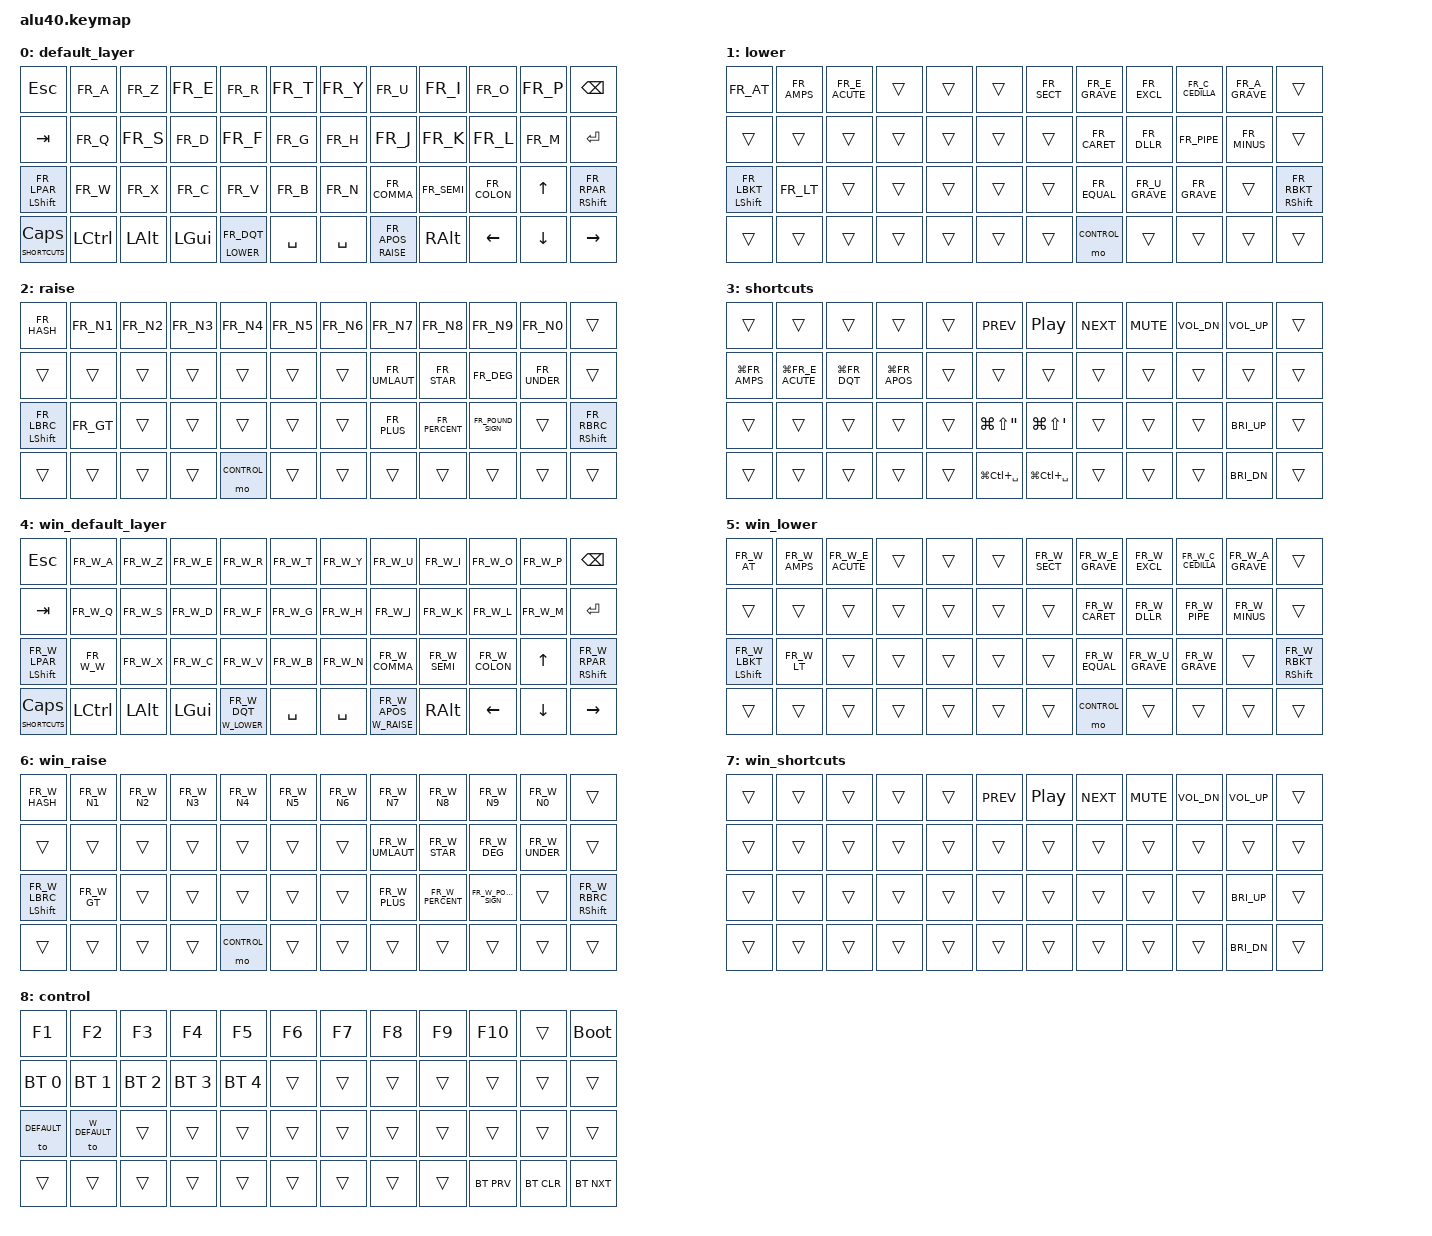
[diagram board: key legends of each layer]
/*
 * Copyright (c) 2022 The ZMK Contributors
 *
 * SPDX-License-Identifier: MIT
 */

#include <behaviors.dtsi>
#include <dt-bindings/zmk/bt.h>
#include <dt-bindings/zmk/rgb.h>
#include <dt-bindings/zmk/keys.h>
#include <dt-bindings/zmk/bt.h>

#include "keys_osx_fr.h"
#include "keys_win_fr.h"

#define DEFAULT 0
#define LOWER 1
#define RAISE 2
#define SHORTCUTS 3
#define W_DEFAULT 4
#define W_LOWER 5
#define W_RAISE 6
#define W_SHORTCUTS 7
#define CONTROL 8

#define CAPF LG(LS(DQT))
#define CAPR LG(LS(APOS))
#define CHAR LG(LC(SPACE))

#define SPACE1 LG(FR_AMPS)
#define SPACE2 LG(FR_E_ACUTE)
#define SPACE3 LG(FR_DQT)
#define SPACE4 LG(FR_APOS)


/ {
    keymap {
        compatible = "zmk,keymap";

        default_layer {
            bindings = <
                &kp ESC             &kp FR_A            &kp FR_Z            &kp FR_E            &kp FR_R            &kp FR_T            &kp FR_Y            &kp FR_U            &kp FR_I             &kp FR_O            &kp FR_P            &kp BSPC
                &kp TAB             &kp FR_Q            &kp FR_S            &kp FR_D            &kp FR_F            &kp FR_G            &kp FR_H            &kp FR_J            &kp FR_K             &kp FR_L            &kp FR_M            &kp ENTER
                &mt LSHFT FR_LPAR   &kp FR_W            &kp FR_X            &kp FR_C            &kp FR_V            &kp FR_B            &kp FR_N            &kp FR_COMMA        &kp FR_SEMI          &kp FR_COLON        &kp UP              &mt RSHFT FR_RPAR
                &lt SHORTCUTS CAPS  &kp LCTRL           &kp LALT            &kp LGUI            &lt LOWER FR_DQT    &kp SPACE           &kp SPACE           &lt RAISE FR_APOS   &kp RALT             &kp LEFT            &kp DOWN            &kp RIGHT
            >;
        };

        lower {
            bindings = <
                &kp FR_AT           &kp FR_AMPS         &kp FR_E_ACUTE      &trans              &trans              &trans              &kp FR_SECT         &kp FR_E_GRAVE      &kp FR_EXCL         &kp FR_C_CEDILLA    &kp FR_A_GRAVE      &trans
                &trans              &trans              &trans              &trans              &trans              &trans              &trans              &kp FR_CARET        &kp FR_DLLR         &kp FR_PIPE         &kp FR_MINUS        &trans
                &mt LSHFT FR_LBKT   &kp FR_LT           &trans              &trans              &trans              &trans              &trans              &kp FR_EQUAL        &kp FR_U_GRAVE      &kp FR_GRAVE        &trans              &mt RSHFT FR_RBKT
                &trans              &trans              &trans              &trans              &trans              &trans              &trans              &mo CONTROL         &trans              &trans              &trans              &trans
            >;
        };

        raise {
            bindings = <
                &kp FR_HASH         &kp FR_N1           &kp FR_N2           &kp FR_N3           &kp FR_N4           &kp FR_N5           &kp FR_N6           &kp FR_N7           &kp FR_N8           &kp FR_N9           &kp FR_N0           &trans
                &trans              &trans              &trans              &trans              &trans              &trans              &trans              &kp FR_UMLAUT       &kp FR_STAR         &kp FR_DEG          &kp FR_UNDER        &trans
                &mt LSHFT FR_LBRC   &kp FR_GT           &trans              &trans              &trans              &trans              &trans              &kp FR_PLUS         &kp FR_PERCENT      &kp FR_POUND_SIGN   &trans              &mt RSHFT FR_RBRC
                &trans              &trans              &trans              &trans              &mo CONTROL         &trans              &trans              &trans              &trans              &trans              &trans              &trans
            >;
        };

        shortcuts {
            bindings = <
                &trans              &trans              &trans              &trans              &trans              &kp C_PREV          &kp C_PP            &kp C_NEXT          &kp K_MUTE          &kp C_VOL_DN        &kp C_VOL_UP        &trans
                &kp SPACE1          &kp SPACE2          &kp SPACE3          &kp SPACE4          &trans              &trans              &trans              &trans              &trans              &trans              &trans              &trans
                &trans              &trans              &trans              &trans              &trans              &kp CAPF            &kp CAPR            &trans              &trans              &trans              &kp C_BRI_UP        &trans
                &trans              &trans              &trans              &trans              &trans              &kp CHAR            &kp CHAR            &trans              &trans              &trans              &kp C_BRI_DN        &trans
            >;
        };

        win_default_layer {
            bindings = <
                &kp ESC             &kp FR_W_A          &kp FR_W_Z          &kp FR_W_E          &kp FR_W_R            &kp FR_W_T          &kp FR_W_Y          &kp FR_W_U            &kp FR_W_I           &kp FR_W_O          &kp FR_W_P          &kp BSPC
                &kp TAB             &kp FR_W_Q          &kp FR_W_S          &kp FR_W_D          &kp FR_W_F            &kp FR_W_G          &kp FR_W_H          &kp FR_W_J            &kp FR_W_K           &kp FR_W_L          &kp FR_W_M          &kp ENTER
                &mt LSHFT FR_W_LPAR &kp FR_W_W          &kp FR_W_X          &kp FR_W_C          &kp FR_W_V            &kp FR_W_B          &kp FR_W_N          &kp FR_W_COMMA        &kp FR_W_SEMI        &kp FR_W_COLON      &kp UP              &mt RSHFT FR_W_RPAR
                &lt SHORTCUTS CAPS  &kp LCTRL           &kp LALT            &kp LGUI            &lt W_LOWER FR_W_DQT  &kp SPACE           &kp SPACE           &lt W_RAISE FR_W_APOS &kp RALT             &kp LEFT            &kp DOWN            &kp RIGHT
            >;
        };

        win_lower {
            bindings = <
                &kp FR_W_AT         &kp FR_W_AMPS       &kp FR_W_E_ACUTE    &trans              &trans              &trans              &kp FR_W_SECT       &kp FR_W_E_GRAVE    &kp FR_W_EXCL       &kp FR_W_C_CEDILLA  &kp FR_W_A_GRAVE    &trans
                &trans              &trans              &trans              &trans              &trans              &trans              &trans              &kp FR_W_CARET      &kp FR_W_DLLR       &kp FR_W_PIPE       &kp FR_W_MINUS      &trans
                &mt LSHFT FR_W_LBKT &kp FR_W_LT         &trans              &trans              &trans              &trans              &trans              &kp FR_W_EQUAL      &kp FR_W_U_GRAVE    &kp FR_W_GRAVE      &trans              &mt RSHFT FR_W_RBKT
                &trans              &trans              &trans              &trans              &trans              &trans              &trans              &mo CONTROL         &trans              &trans              &trans              &trans
            >;
        };

        win_raise {
            bindings = <
                &kp FR_W_HASH       &kp FR_W_N1         &kp FR_W_N2         &kp FR_W_N3         &kp FR_W_N4         &kp FR_W_N5         &kp FR_W_N6         &kp FR_W_N7         &kp FR_W_N8         &kp FR_W_N9         &kp FR_W_N0         &trans
                &trans              &trans              &trans              &trans              &trans              &trans              &trans              &kp FR_W_UMLAUT     &kp FR_W_STAR       &kp FR_W_DEG        &kp FR_W_UNDER      &trans
                &mt LSHFT FR_W_LBRC &kp FR_W_GT         &trans              &trans              &trans              &trans              &trans              &kp FR_W_PLUS       &kp FR_W_PERCENT    &kp FR_W_POUND_SIGN &trans              &mt RSHFT FR_W_RBRC
                &trans              &trans              &trans              &trans              &mo CONTROL         &trans              &trans              &trans              &trans              &trans              &trans              &trans
            >;
        };

        win_shortcuts {
            bindings = <
                &trans              &trans              &trans              &trans              &trans              &kp C_PREV          &kp C_PP            &kp C_NEXT          &kp K_MUTE          &kp C_VOL_DN        &kp C_VOL_UP        &trans
                &trans              &trans              &trans              &trans              &trans              &trans              &trans              &trans              &trans              &trans              &trans              &trans
                &trans              &trans              &trans              &trans              &trans              &trans              &trans              &trans              &trans              &trans              &kp C_BRI_UP        &trans
                &trans              &trans              &trans              &trans              &trans              &trans              &trans              &trans              &trans              &trans              &kp C_BRI_DN        &trans
            >;
        };

        control {
            bindings = <
                &kp F1              &kp F2              &kp F3              &kp F4              &kp F5              &kp F6              &kp F7              &kp F8              &kp F9              &kp F10             &trans              &bootloader
                &bt BT_SEL 0        &bt BT_SEL 1        &bt BT_SEL 2        &bt BT_SEL 3        &bt BT_SEL 4        &trans              &trans              &trans              &trans              &trans              &trans              &trans
                &to DEFAULT         &to W_DEFAULT       &trans              &trans              &trans              &trans              &trans              &trans              &trans              &trans              &trans              &trans
                &trans              &trans              &trans              &trans              &trans              &trans              &trans              &trans              &trans              &bt BT_PRV          &bt BT_CLR          &bt BT_NXT
            >;
        };

    };
};
